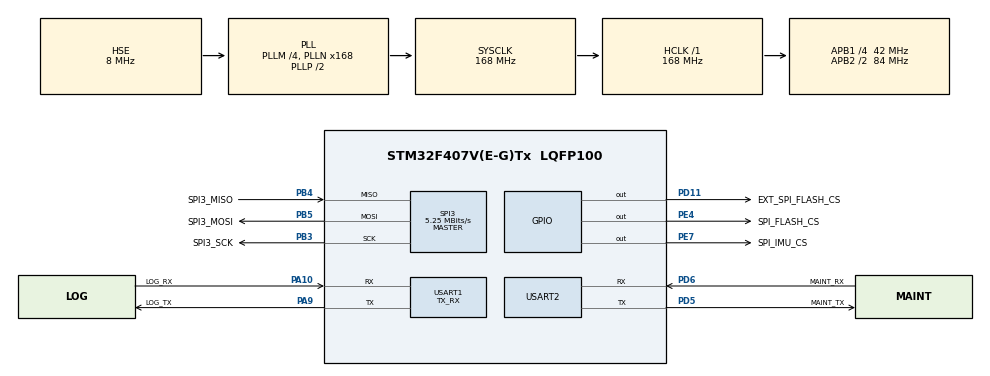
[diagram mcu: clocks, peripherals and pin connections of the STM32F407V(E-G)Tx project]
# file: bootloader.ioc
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Mcu.Family=STM32F4
Mcu.Name=STM32F407V(E-G)Tx
Mcu.Package=LQFP100
NVIC.PriorityGroup=NVIC_PRIORITYGROUP_4
PA10.GPIO_Label=LOG_RX
PA10.Mode=Asynchronous
PA10.Signal=USART1_RX
PA13.Mode=Serial_Wire
PA13.Signal=SYS_JTMS-SWDIO
PA14.Mode=Serial_Wire
PA14.Signal=SYS_JTCK-SWCLK
PA9.GPIO_Label=LOG_TX
PA9.Mode=Asynchronous
PA9.Signal=USART1_TX
PB3.GPIO_Label=SPI3_SCK
PB3.GPIO_Speed=GPIO_SPEED_FREQ_VERY_HIGH
PB3.Mode=Full_Duplex_Master
PB3.Signal=SPI3_SCK
PB4.GPIO_Label=SPI3_MISO
PB4.Mode=Full_Duplex_Master
PB4.Signal=SPI3_MISO
PB5.GPIO_Label=SPI3_MOSI
PB5.Mode=Full_Duplex_Master
PB5.Signal=SPI3_MOSI
PD11.GPIO_Label=EXT_SPI_FLASH_CS
PD11.PinState=GPIO_PIN_SET
PD11.Signal=GPIO_Output
PD5.GPIO_Label=MAINT_TX
PD5.Mode=Asynchronous
PD5.Signal=USART2_TX
PD6.GPIO_Label=MAINT_RX
PD6.Mode=Asynchronous
PD6.Signal=USART2_RX
PE4.GPIO_Label=SPI_FLASH_CS
PE4.PinState=GPIO_PIN_SET
PE4.Signal=GPIO_Output
PE7.GPIO_Label=SPI_IMU_CS
PE7.PinState=GPIO_PIN_SET
PE7.Signal=GPIO_Output
PH0-OSC_IN.Mode=HSE-External-Oscillator
PH0-OSC_IN.Signal=RCC_OSC_IN
PH1-OSC_OUT.Mode=HSE-External-Oscillator
PH1-OSC_OUT.Signal=RCC_OSC_OUT
ProjectManager.HeapSize=0x200
ProjectManager.StackSize=0x2000
ProjectManager.TargetToolchain=CMake
RCC.48MHZClocksFreq_Value=84000000
RCC.AHBFreq_Value=168000000
RCC.APB1CLKDivider=RCC_HCLK_DIV4
RCC.APB1Freq_Value=42000000
RCC.APB1TimFreq_Value=84000000
RCC.APB2CLKDivider=RCC_HCLK_DIV2
RCC.APB2Freq_Value=84000000
RCC.APB2TimFreq_Value=168000000
RCC.CortexFreq_Value=168000000
RCC.HCLKFreq_Value=168000000
RCC.HSE_VALUE=8000000
RCC.HSI_VALUE=16000000
RCC.LSE_VALUE=32768
RCC.PLLM=4
RCC.PLLN=168
RCC.PLLSourceVirtual=RCC_PLLSOURCE_HSE
RCC.SYSCLKFreq_VALUE=168000000
RCC.SYSCLKSource=RCC_SYSCLKSOURCE_PLLCLK
RCC.VCOOutputFreq_Value=336000000
SPI3.BaudRatePrescaler=SPI_BAUDRATEPRESCALER_8
SPI3.CalculateBaudRate=5.25 MBits/s
SPI3.Direction=SPI_DIRECTION_2LINES
SPI3.Mode=SPI_MODE_MASTER
SPI3.VirtualType=VM_MASTER
USART1.Mode=MODE_TX_RX
USART1.VirtualMode=VM_ASYNC
USART2.VirtualMode=VM_ASYNC
board=custom

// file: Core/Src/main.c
/* USER CODE BEGIN Header */
/**
  ******************************************************************************
  * @file           : main.c
  * @brief          : Main program body
  ******************************************************************************
  * @attention
  *
  * Copyright (c) 2026 STMicroelectronics.
  * All rights reserved.
  *
  * This software is licensed under terms that can be found in the LICENSE file
  * in the root directory of this software component.
  * If no LICENSE file comes with this software, it is provided AS-IS.
  *
  ******************************************************************************
  */
/* USER CODE END Header */
#include "main.h"
#include "spi.h"
#include "usart.h"
#include "gpio.h"

/* USER CODE BEGIN Includes */
#include "boot_watchdog.h"
#include <stdio.h>
#include "boot_upgrade_state.h"
#include "boot_trial.h"
#include "boot_recovery.h"
#include "boot_install.h"
#include "upgrade_trust.h"
#include "boot_jump.h"
/* USER CODE END Includes */

/* USER CODE BEGIN PD */
// 启狗后到 Flash 唤醒检查点的准备期限，单位 ms；安装和收包使用各自的期限。
#define BOOT_STARTUP_TIMEOUT_MS 15000U

/* USER CODE END PD */

void SystemClock_Config(void);

/* USER CODE BEGIN 0 */
/*
 * 长操作返回后检查 Boot 已锁存的监督失败，stage 仅标明阶段；失败时主动软件复位。
 * 若代码一直阻塞而无法回到这里，就没有机会执行这条软件复位路径，由未获刷新的 IWDG 兜底。
 */
static void Boot_ResetIfWatchdogFailed(const char *stage)
{
  if (Boot_WatchdogFailed())
  {
    printf("WDG supervision expired stage=%s; reset\r\n", stage);
    __DSB();
    NVIC_SystemReset();
  }
}

/* USER CODE END 0 */

int main(void)
{

  /* MCU Configuration--------------------------------------------------------*/

  /* Reset of all peripherals, Initializes the Flash interface and the Systick. */
  HAL_Init();

  /* USER CODE BEGIN Init */

  // 1. 先保存复位原因和 App 留下的确认意图，稍后交给安装状态机判断。
  uint32_t reset_flags = RCC->CSR;
  // 只有软件复位标志存在，且没有同时记录掉电、欠压或看门狗复位，才允许采信确认邮箱。
  bool software_reset = ((reset_flags & RCC_CSR_SFTRSTF) != 0U)
                     && ((reset_flags & (RCC_CSR_PORRSTF | RCC_CSR_BORRSTF
                                        | RCC_CSR_IWDGRSTF | RCC_CSR_WWDGRSTF)) == 0U);
  // 保存可能有效的确认消息并清除旧邮箱；此处尚不决定确认或回退。
  Boot_TrialBegin((volatile uint32_t *)UPGRADE_MAILBOX_ADDRESS, software_reset);
  // 原因已保存，清除硬件标志，避免下次复位与这次混在一起判断。
  __HAL_RCC_CLEAR_RESET_FLAGS();

  /* USER CODE END Init */

  /* Configure the system clock */
  SystemClock_Config();

  /* Initialize all configured peripherals */
  MX_GPIO_Init();
  MX_USART1_UART_Init();
  MX_SPI3_Init();
  MX_USART2_UART_Init();
  /* USER CODE BEGIN 2 */

  // 2. 时钟配置完成，初始化 GPIO、日志串口、外部 Flash 的 SPI3 和 USART2 维护口。

  // 基础外设就绪后启动 IWDG，后面的 Flash 准备、安装和维护都接受监督。
  // 有界操作各自保存起点，只在实际进展后刷新；本次 Boot 一旦锁存故障就不再恢复喂狗。
  if (!Boot_WatchdogStart())
  {
    Error_Handler();
  }
  // 保存本段准备流程的起点，后面的期限检查使用同一个起点，不随日志或进展重置。
  uint32_t boot_started_ms = HAL_GetTick();
  printf("Boot watchdog active\r\n");

  // 向外部 Flash 发送退出深度掉电命令：拉低片选、发送 0xAB、拉高片选结束。
  uint8_t wake_command = 0xABU;
  HAL_GPIO_WritePin(EXT_SPI_FLASH_CS_GPIO_Port, EXT_SPI_FLASH_CS_Pin, GPIO_PIN_RESET);
  HAL_StatusTypeDef wake_status = HAL_SPI_Transmit(&hspi3, &wake_command, 1U, 10U);
  HAL_GPIO_WritePin(EXT_SPI_FLASH_CS_GPIO_Port, EXT_SPI_FLASH_CS_Pin, GPIO_PIN_SET);
  HAL_Delay(1U);
  // 这里只记录命令传输状态，Flash 内容是否可用还须由后续读取和认证判断。
  printf("Flash wake: HAL status=%u\r\n", (unsigned int)wake_status);

  // 本段准备未超期才报告进展并喂狗；已超期则锁存失败并复位。
  if (!Boot_WatchdogProgress(boot_started_ms, BOOT_STARTUP_TIMEOUT_MS))
  {
    Boot_ResetIfWatchdogFailed("startup");
    Error_Handler();
  }

  // 3. 取得可信资料，再调用安装状态机处理现有持久状态。
  // 信任资料来自 Boot 预留区，初始化失败时下面的取密钥操作会拒绝放行。
  (void)UpgradeTrust_Initialize();
  const uint8_t *public_key = NULL;     // 65 B 验签公钥的只读指针。
  const uint8_t *aes_key = NULL;        // 32 B AES 解密密钥的只读指针。
  // 查询当前支持的密钥编号 1/1；成功后两个指针才可用于包认证。
  bool keys_ready = UpgradeTrust_Get(1U, 1U, &public_key, &aes_key);

  // keys_ready 为 true 才调用 Boot_InstallRun；否则直接得到状态错误，转入维护处理。
  // 此调用按日志决定正常启动、安装候选、处理确认或恢复旧包；正常上电不一定需要擦写 App。
  Boot_InstallResult install_result = keys_ready ? Boot_InstallRun(public_key, aes_key) : BOOT_INSTALL_STATE_ERROR;

  // 先处理安装期间的监督故障，再用 install_result 判断是否允许继续启动。
  Boot_ResetIfWatchdogFailed("install");
  printf("Install result=%u\r\n", (unsigned int)install_result);

  // 已确认 App 可启动、候选可试运行、旧包恢复成功，这三类结果才允许继续交接检查。
  bool allow_app = (install_result == BOOT_INSTALL_BOOT_EXISTING)
                || (install_result == BOOT_INSTALL_TRIAL_STARTED)
                || (install_result == BOOT_INSTALL_RESTORED);
  // 结果允许还不够，App 的初始栈指针和复位入口也须有效。
  allow_app = allow_app && Boot_CheckAppVector();
  // 不能启动时必须驻留维护；若本来可启动，仍先留一个维护窗口给电脑接入。
  bool serial_service = !allow_app;

  // 4. 按上一步的结果选择直接交接试运行，或进入 USART2 维护窗口。
  // TRIAL_STARTED 已记录本次放行机会，跳过窗口；其他情况进入循环查询或恢复。
  // 同一次启动不能无故再次运行安装器，否则可能被当作未确认的下一次试运行。
  while ((install_result != BOOT_INSTALL_TRIAL_STARTED) || !allow_app)
  {
    // 返回 PACKAGE 才表示完整恢复包已认证并提交 READY，主流程才能再调用安装器。
    // COMMAND 表示继续维护处理，NO_REQUEST 表示本轮窗口未接到请求。
    BootReceiveResult received = Boot_RecoveryReceive(public_key, aes_key);
    Boot_ResetIfWatchdogFailed("receive");
    if (received == BOOT_RECEIVE_COMMAND)
    {
      // 维护命令、未完成接收或串口错误等都可能走这里，不能当作已有完整包。
      // 一旦驻留维护，无请求时也继续等待；电脑可完成恢复，或用 RUN 请求复位重判。
      serial_service = true;
      continue;
    }
    if (received == BOOT_RECEIVE_NO_REQUEST)
    {
      // App 原本可启动且尚未驻留维护：窗口结束后退出循环，继续最终交接。
      // App 不可启动或已驻留维护：保留 Boot 服务，等待电脑下一条请求。
      if (allow_app && !serial_service)
      {
        break;
      }
      HAL_Delay(10U);
      continue;
    }

    // 走到这里表示收到 PACKAGE：恢复 READY 已落盘，现在再次调用安装状态机安装恢复包。
    // 与开机首遍一样，缺少可信密钥就返回状态错误，不执行安装器。
    install_result = keys_ready ? Boot_InstallRun(public_key, aes_key) : BOOT_INSTALL_STATE_ERROR;
    Boot_ResetIfWatchdogFailed("install");
    // 向电脑回复本次安装结果；TRIAL 仅表示已登记试运行，后续仍需 App 健康确认。
    // 这是同一 FINISH 的第二条阶段应答，第一条 ACCEPTED/READY 已在收包入口发出。
    Boot_RecoveryReplyResult(install_result);
    // 重新核对安装结果和 App 向量，通过才退出维护循环，进入交接步骤。
    allow_app = ((install_result == BOOT_INSTALL_BOOT_EXISTING)
                 || (install_result == BOOT_INSTALL_TRIAL_STARTED)
                 || (install_result == BOOT_INSTALL_RESTORED)) && Boot_CheckAppVector();
    if (allow_app)
    {
      break;
    }
    // 本次仍不能启动，继续驻留维护，等待电脑显式恢复。
    serial_service = true;
  }
  // 保护性检查：没有取得启动资格就停在 Boot，不能继续执行下面的跳转。
  if (!allow_app)
  {
    printf("Upgrade requires install/restore/recovery; stay in Boot\r\n");
    while (1)
    {
      HAL_Delay(1000U);
    }
  }

  // 5. 最终交接检查：复查向量、写启动身份，再认证最终启动包并核对片内 App。
  if (Boot_CheckAppVector())
  {
    // 这里写给下一次 App 启动读取的 NORMAL/TRIAL 身份，与步骤 1 读取的确认消息方向相反。
    if (!Boot_TrialPrepareApp((volatile uint32_t *)UPGRADE_MAILBOX_ADDRESS))
    {
      Error_Handler();
    }
    printf("App vector valid\r\n");
    // 根据最终持久状态选择包，核对真实镜像及 IWDG 交接能力；失败进入错误处理。
    if (!Boot_WatchdogPrepareApp(public_key, aes_key))
    {
      Boot_ResetIfWatchdogFailed("handoff");
      Error_Handler();
    }
    // 6. 清理硬件和中断、设置 App 向量表、切换 MSP，再跳到 App Reset_Handler。
    // 成功后不会返回 main；IWDG 持续计数，由 App 接管。
    if(!Boot_JumpToApp())
    {
      Error_Handler();
    }
  }
  else
  {
    printf("App vector invalid\r\n");
  }

  /* USER CODE END 2 */

  /* Infinite loop */
  /* USER CODE BEGIN WHILE */
  // 正常启动已在上方交接；若最终向量检查失败来到这里，则不喂狗，由已启动的 IWDG 复位。
  while (1)
  {
    /* USER CODE END WHILE */

  }
}

void SystemClock_Config(void)
{
  RCC_OscInitTypeDef RCC_OscInitStruct = {0};
  RCC_ClkInitTypeDef RCC_ClkInitStruct = {0};

  /** Configure the main internal regulator output voltage
  */
  __HAL_RCC_PWR_CLK_ENABLE();
  __HAL_PWR_VOLTAGESCALING_CONFIG(PWR_REGULATOR_VOLTAGE_SCALE1);

  /** Initializes the RCC Oscillators according to the specified parameters
  * in the RCC_OscInitTypeDef structure.
  */
  RCC_OscInitStruct.OscillatorType = RCC_OSCILLATORTYPE_HSE;
  RCC_OscInitStruct.HSEState = RCC_HSE_ON;
  RCC_OscInitStruct.PLL.PLLState = RCC_PLL_ON;
  RCC_OscInitStruct.PLL.PLLSource = RCC_PLLSOURCE_HSE;
  RCC_OscInitStruct.PLL.PLLM = 4;
  RCC_OscInitStruct.PLL.PLLN = 168;
  RCC_OscInitStruct.PLL.PLLP = RCC_PLLP_DIV2;
  RCC_OscInitStruct.PLL.PLLQ = 4;
  if (HAL_RCC_OscConfig(&RCC_OscInitStruct) != HAL_OK)
  {
    Error_Handler();
  }

  /** Initializes the CPU, AHB and APB buses clocks
  */
  RCC_ClkInitStruct.ClockType = RCC_CLOCKTYPE_HCLK|RCC_CLOCKTYPE_SYSCLK
                              |RCC_CLOCKTYPE_PCLK1|RCC_CLOCKTYPE_PCLK2;
  RCC_ClkInitStruct.SYSCLKSource = RCC_SYSCLKSOURCE_PLLCLK;
  RCC_ClkInitStruct.AHBCLKDivider = RCC_SYSCLK_DIV1;
  RCC_ClkInitStruct.APB1CLKDivider = RCC_HCLK_DIV4;
  RCC_ClkInitStruct.APB2CLKDivider = RCC_HCLK_DIV2;

  if (HAL_RCC_ClockConfig(&RCC_ClkInitStruct, FLASH_LATENCY_5) != HAL_OK)
  {
    Error_Handler();
  }
}

/* USER CODE BEGIN 4 */
// 将 printf 的单个字符送往 USART1，发送失败返回 EOF。
int __io_putchar(int ch)
{
  uint8_t data = (uint8_t)ch;
  if (HAL_UART_Transmit(&huart1, &data, 1U, 10U) != HAL_OK)
  {
    return EOF;
  }
  return (int)data;
}
/* USER CODE END 4 */

void Error_Handler(void)
{
  /* USER CODE BEGIN Error_Handler_Debug */
  /* User can add his own implementation to report the HAL error return state */
  // 关闭中断并停止执行后续流程；若 IWDG 已启动，停止喂狗后会超时复位。
  __disable_irq();
  while (1)
  {
  }
  /* USER CODE END Error_Handler_Debug */
}
